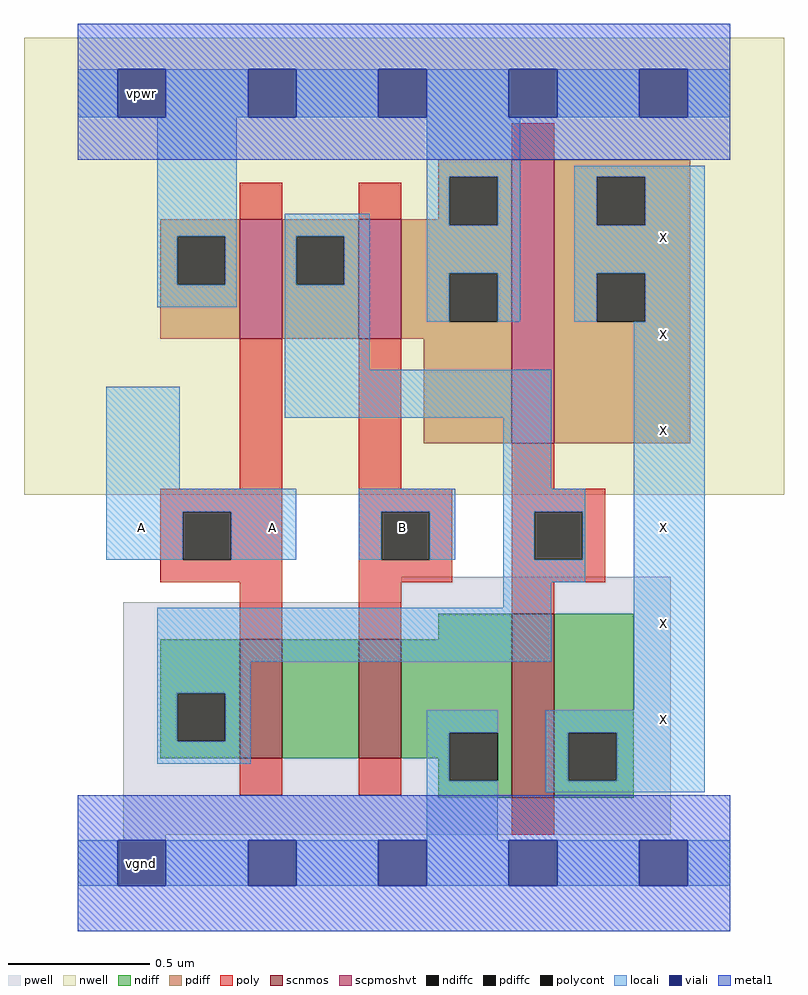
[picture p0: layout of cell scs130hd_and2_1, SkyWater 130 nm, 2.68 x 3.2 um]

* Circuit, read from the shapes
.subckt scs130hd_and2_1 vgnd vpwr A B X vpb vnb
XM1 n1 A n2 vnb sky130_fd_pr__nfet_01v8 w=0.42 l=0.15
XM2 vgnd B n1 vnb sky130_fd_pr__nfet_01v8 w=0.42 l=0.15
XM3 X n2 vgnd vnb sky130_fd_pr__nfet_01v8 w=0.65 l=0.15
XM4 n2 A vpwr vpb sky130_fd_pr__pfet_01v8_hvt w=0.42 l=0.15
XM5 vpwr B n2 vpb sky130_fd_pr__pfet_01v8_hvt w=0.42 l=0.15
XM6 X n2 vpwr vpb sky130_fd_pr__pfet_01v8_hvt w=1 l=0.15
.ends

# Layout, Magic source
magic
tech sky130B
<< nwell >>
rect -19 130 249 291
<< pwell >>
rect 114 92 209 101
rect 16 10 209 92
rect 16 8 31 10
rect 14 -8 31 8
<< scnmos >>
rect 57 37 72 79
rect 99 37 114 79
rect 153 23 168 88
<< scpmoshvt >>
rect 57 185 72 227
rect 99 185 114 227
rect 153 148 168 248
<< ndiff >>
rect 127 79 153 88
rect 29 60 57 79
rect 29 43 35 60
rect 52 43 57 60
rect 29 37 57 43
rect 72 37 99 79
rect 114 46 153 79
rect 114 37 131 46
rect 127 29 131 37
rect 148 29 153 46
rect 127 23 153 29
rect 168 46 196 88
rect 168 29 173 46
rect 190 29 196 46
rect 168 23 196 29
<< pdiff >>
rect 127 242 153 248
rect 127 227 131 242
rect 29 221 57 227
rect 29 204 35 221
rect 52 204 57 221
rect 29 185 57 204
rect 72 221 99 227
rect 72 204 77 221
rect 94 204 99 221
rect 72 185 99 204
rect 114 225 131 227
rect 148 225 153 242
rect 114 208 153 225
rect 114 191 131 208
rect 148 191 153 208
rect 114 185 153 191
rect 122 148 153 185
rect 168 242 216 248
rect 168 225 183 242
rect 200 225 216 242
rect 168 208 216 225
rect 168 191 183 208
rect 200 191 216 208
rect 168 148 216 191
<< ndiffc >>
rect 35 43 52 60
rect 131 29 148 46
rect 173 29 190 46
<< pdiffc >>
rect 35 204 52 221
rect 77 204 94 221
rect 131 225 148 242
rect 131 191 148 208
rect 183 225 200 242
rect 183 191 200 208
<< poly >>
rect 153 248 168 261
rect 57 227 72 240
rect 99 227 114 240
rect 57 132 72 185
rect 29 124 72 132
rect 29 107 37 124
rect 54 107 72 124
rect 29 99 72 107
rect 57 79 72 99
rect 99 132 114 185
rect 153 132 168 148
rect 99 124 132 132
rect 99 107 107 124
rect 124 107 132 124
rect 99 99 132 107
rect 153 124 186 132
rect 153 107 161 124
rect 178 107 186 124
rect 153 99 186 107
rect 99 79 114 99
rect 153 88 168 99
rect 57 24 72 37
rect 99 24 114 37
rect 153 10 168 23
<< polycont >>
rect 37 107 54 124
rect 107 107 124 124
rect 161 107 178 124
<< locali >>
rect 0 263 14 280
rect 31 263 60 280
rect 77 263 106 280
rect 123 263 152 280
rect 169 263 198 280
rect 215 263 230 280
rect 28 221 56 263
rect 123 242 156 263
rect 28 204 35 221
rect 52 204 56 221
rect 28 196 56 204
rect 73 221 103 229
rect 73 204 77 221
rect 94 204 103 221
rect 73 174 103 204
rect 123 225 131 242
rect 148 225 156 242
rect 123 208 156 225
rect 123 191 131 208
rect 148 191 156 208
rect 175 242 221 246
rect 175 225 183 242
rect 200 225 221 242
rect 175 208 221 225
rect 175 191 183 208
rect 200 191 221 208
rect 10 132 36 168
rect 73 157 167 174
rect 150 132 167 157
rect 10 124 77 132
rect 10 107 37 124
rect 54 107 77 124
rect 99 124 133 132
rect 99 107 107 124
rect 124 107 133 124
rect 150 124 179 132
rect 150 107 161 124
rect 178 107 179 124
rect 150 99 179 107
rect 150 90 167 99
rect 28 71 167 90
rect 28 60 61 71
rect 28 43 35 60
rect 52 43 61 60
rect 196 54 221 191
rect 28 35 61 43
rect 123 46 148 54
rect 123 29 131 46
rect 123 8 148 29
rect 165 46 221 54
rect 165 29 173 46
rect 190 29 221 46
rect 165 25 221 29
rect 0 -8 14 8
rect 31 -8 60 8
rect 77 -8 106 8
rect 123 -8 152 8
rect 169 -8 198 8
rect 215 -8 230 8
<< viali >>
rect 14 263 31 280
rect 60 263 77 280
rect 106 263 123 280
rect 152 263 169 280
rect 198 263 215 280
rect 14 -8 31 8
rect 60 -8 77 8
rect 106 -8 123 8
rect 152 -8 169 8
rect 198 -8 215 8
<< metal1 >>
rect 0 280 230 296
rect 0 263 14 280
rect 31 263 60 280
rect 77 263 106 280
rect 123 263 152 280
rect 169 263 198 280
rect 215 263 230 280
rect 0 248 230 263
rect 0 8 230 24
rect 0 -8 14 8
rect 31 -8 60 8
rect 77 -8 106 8
rect 123 -8 152 8
rect 169 -8 198 8
rect 215 -8 230 8
rect 0 -24 230 -8
<< labels >>
flabel metal1 s 14 -8 31 8 0 FreeSans 100 0 0 0 vgnd
port 2 nsew
flabel metal1 s 14 263 31 280 0 FreeSans 100 0 0 0 vpwr
port 3 nsew
flabel locali s 14 110 31 127 0 FreeSans 125 0 0 0 A
port 4 nsew
flabel locali s 60 110 77 127 0 FreeSans 125 0 0 0 A
port 4 nsew
flabel locali s 106 110 123 127 0 FreeSans 125 0 0 0 B
port 5 nsew
flabel locali s 198 212 215 229 0 FreeSans 125 0 0 0 X
port 6 nsew
flabel locali s 198 178 215 195 0 FreeSans 125 0 0 0 X
port 6 nsew
flabel locali s 198 144 215 161 0 FreeSans 125 0 0 0 X
port 6 nsew
flabel locali s 198 110 215 127 0 FreeSans 125 0 0 0 X
port 6 nsew
flabel locali s 198 42 215 59 0 FreeSans 125 0 0 0 X
port 6 nsew
flabel locali s 198 76 215 93 0 FreeSans 125 0 0 0 X
port 6 nsew
flabel nwell s 14 263 31 280 0 FreeSans 100 0 0 0 vpb
port 7 nsew
flabel pwell s 14 -8 31 8 0 FreeSans 100 0 0 0 vnb
port 8 nsew
rlabel comment s 0 0 0 0 4 scs130hd_and2_1
<< properties >>
string FIXED_BBOX 0 0 230 272
<< end >>
